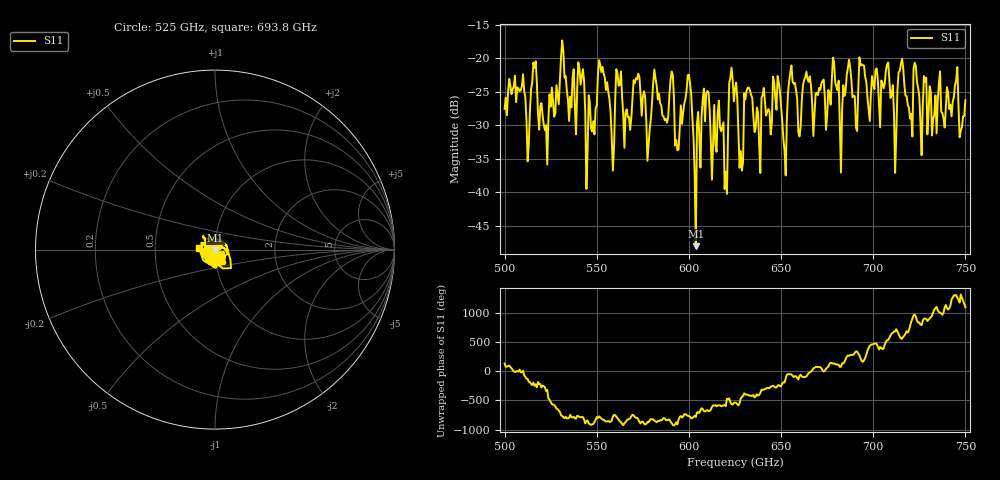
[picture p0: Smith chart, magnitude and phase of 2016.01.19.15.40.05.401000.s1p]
!Created with skrf (http://scikit-rf.org).
# GHz S RI R 50.0
!freq ReS11 ImS11
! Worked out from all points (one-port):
!   401 points, 500 GHz to 750 GHz, reference 50 ohm
!   lowest |S11| = -48.1 dB at 603.8 GHz (marker M1), VSWR 1.01, Z = 50.2 - j0.355 ohm
!   |S11| at or under -10 dB: start of sweep to end of sweep
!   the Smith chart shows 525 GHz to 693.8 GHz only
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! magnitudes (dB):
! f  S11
! 500 GHz  -27.5
! 512.5 GHz  -35.4
! 516.2 GHz  -21.4
! 522.5 GHz  -30.0
! 531.2 GHz  -17.3
! 541.2 GHz  -23.9
! 545.6 GHz  -25.5
! 551.9 GHz  -20.9
! 558.1 GHz  -31.9
! 562.5 GHz  -23.9
! 578.1 GHz  -32.8
! 590.6 GHz  -21.9
! 593.8 GHz  -33.7
! 600 GHz  -22.4
! 603.8 GHz  -48.1
! 609.4 GHz  -25.3
! 620 GHz  -36.9
! 625 GHz  -24.5
! 628.1 GHz  -33.8
! 631.2 GHz  -24.8
! 637.5 GHz  -28.1
! 647.5 GHz  -27.7
! 651.9 GHz  -33.7
! 656.2 GHz  -23.5
! 683.1 GHz  -27.6
! 687.5 GHz  -21.4
! 718.8 GHz  -27.0
! 750 GHz  -26.3
